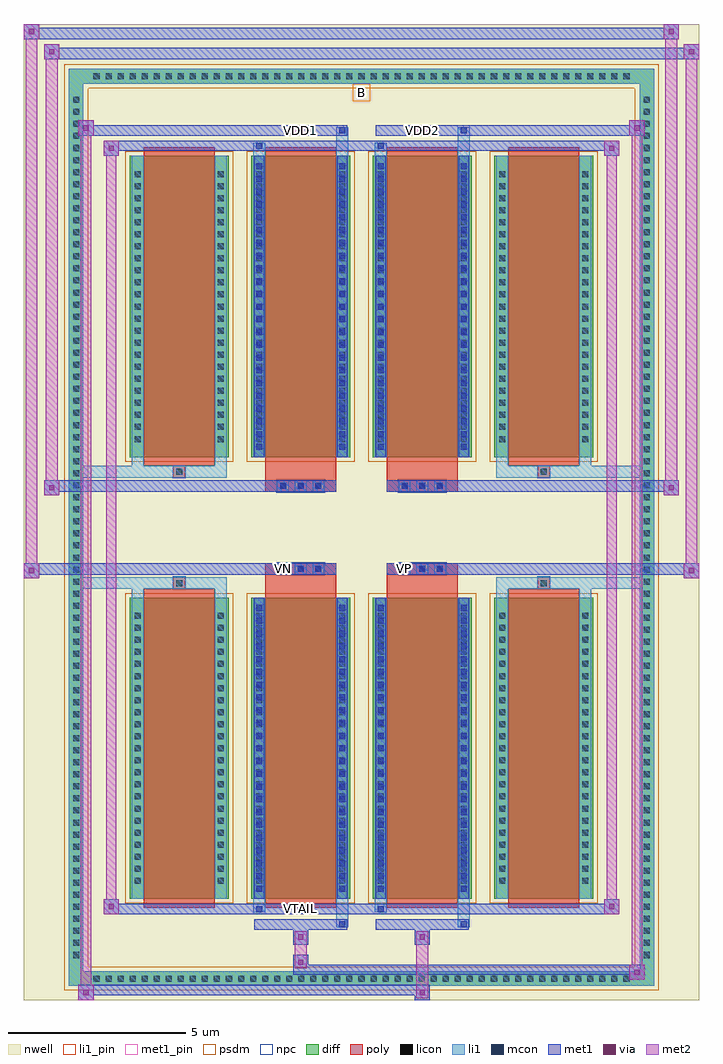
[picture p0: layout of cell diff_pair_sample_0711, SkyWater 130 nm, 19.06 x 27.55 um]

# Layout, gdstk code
import gdstk
lib = gdstk.Library(unit=1e-6, precision=5e-09)
def R(c, l, rs):  # rectangles x0, y0, x1, y1
    for r in rs: c.add(gdstk.rectangle(r[:2], r[2:], *l))
def A(c, l, x, y, w, h, nx, ny, dx, dy):  # array of equal rectangles
    R(c, l, [(x+i*dx, y+j*dy, x+i*dx+w, y+j*dy+h) for i in range(nx) for j in range(ny)])
def P(c, l, *ps):  # polygons
    for p in ps: c.add(gdstk.Polygon(p, *l))
nwell = (64, 20)
diff = (65, 20)
poly = (66, 20)
licon = (66, 44)
li1_pin = (67, 16)
li1 = (67, 20)
mcon = (67, 44)
met1_pin = (68, 16)
met1 = (68, 20)
via = (68, 44)
met2 = (69, 20)
psdm = (94, 20)
npc = (95, 20)

diff_pair_sample_0711 = lib.new_cell('diff_pair_sample_0711')
R(diff_pair_sample_0711, nwell, [(-9.53,-13.34,9.53,14.21), (-6.85,-11.53,-0.01,-0.805), (0.01,-11.53,6.85,-0.805), (-6.85,0.805,-0.01,11.53), (0.01,0.805,6.85,11.53)])
A(diff_pair_sample_0711, diff, -7.685, -12.94, 0.41, 0.41, 45, 2, 0.34, 25.47)
A(diff_pair_sample_0711, diff, -8.26, -12.275, 0.41, 0.41, 1, 72, 0, 0.34)
A(diff_pair_sample_0711, diff, 7.85, -12.275, 0.41, 0.41, 1, 72, 0, 0.34)
A(diff_pair_sample_0711, diff, -6.54, -10.485, 2.79, 8.5, 4, 2, 3.43, 12.47)
R(diff_pair_sample_0711, diff, [(-7.685,-12.94,7.685,-12.53), (-8.26,-12.275,-7.85,12.275), (7.85,-12.275,8.26,12.275), (-7.685,12.53,7.685,12.94)])
P(diff_pair_sample_0711, diff, [(8.26,12.94),(-8.26,12.94),(-8.26,-12.53),(-7.85,-12.53),(-7.85,12.53),(7.85,12.53),(7.85,-12.53),(-7.85,-12.53),(-8.26,-12.53),(-8.26,-12.94),(8.26,-12.94)])
A(diff_pair_sample_0711, poly, -6.15, -10.735, 2.01, 9, 4, 2, 3.43, 12.47)
A(diff_pair_sample_0711, poly, -2.38, -1.335, 0.33, 0.33, 3, 2, 0.5, 2.34)
A(diff_pair_sample_0711, poly, 1.05, -1.335, 0.33, 0.33, 3, 2, 0.5, 2.34)
R(diff_pair_sample_0711, poly, [(-5.31,-1.735,-4.98,-1.405), (-5.31,-1.735,-4.98,-1.405), (-2.72,-1.735,-0.71,-1.335), (0.71,-1.735,2.72,-1.335), (4.98,-1.735,5.31,-1.405), (4.98,-1.735,5.31,-1.405), (-2.72,-1.335,-0.71,-1.005), (0.71,-1.335,2.72,-1.005), (-2.72,1.005,-0.71,1.335), (0.71,1.005,2.72,1.335), (-2.72,1.335,-0.71,1.735), (0.71,1.335,2.72,1.735), (-5.31,1.405,-4.98,1.735), (-5.31,1.405,-4.98,1.735), (4.98,1.405,5.31,1.735), (4.98,1.405,5.31,1.735)])
A(diff_pair_sample_0711, licon, -7.565, -12.82, 0.17, 0.17, 45, 2, 0.34, 25.47)
A(diff_pair_sample_0711, licon, -8.14, -12.155, 0.17, 0.17, 1, 72, 0, 0.34)
A(diff_pair_sample_0711, licon, 7.97, -12.155, 0.17, 0.17, 1, 72, 0, 0.34)
A(diff_pair_sample_0711, licon, -6.4, -10.06, 0.17, 0.17, 1, 23, 0, 0.34)
A(diff_pair_sample_0711, licon, -4.06, -10.06, 0.17, 0.17, 1, 23, 0, 0.34)
A(diff_pair_sample_0711, licon, -2.97, -10.06, 0.17, 0.17, 1, 23, 0, 0.34)
A(diff_pair_sample_0711, licon, -0.63, -10.06, 0.17, 0.17, 1, 23, 0, 0.34)
A(diff_pair_sample_0711, licon, 0.46, -10.06, 0.17, 0.17, 1, 23, 0, 0.34)
A(diff_pair_sample_0711, licon, 2.8, -10.06, 0.17, 0.17, 1, 23, 0, 0.34)
A(diff_pair_sample_0711, licon, 3.89, -10.06, 0.17, 0.17, 1, 23, 0, 0.34)
A(diff_pair_sample_0711, licon, 6.23, -10.06, 0.17, 0.17, 1, 23, 0, 0.34)
A(diff_pair_sample_0711, licon, -2.3, -1.255, 0.17, 0.17, 3, 2, 0.5, 2.34)
A(diff_pair_sample_0711, licon, 1.13, -1.255, 0.17, 0.17, 3, 2, 0.5, 2.34)
A(diff_pair_sample_0711, licon, -6.4, 2.41, 0.17, 0.17, 1, 23, 0, 0.34)
A(diff_pair_sample_0711, licon, -4.06, 2.41, 0.17, 0.17, 1, 23, 0, 0.34)
A(diff_pair_sample_0711, licon, -2.97, 2.41, 0.17, 0.17, 1, 23, 0, 0.34)
A(diff_pair_sample_0711, licon, -0.63, 2.41, 0.17, 0.17, 1, 23, 0, 0.34)
A(diff_pair_sample_0711, licon, 0.46, 2.41, 0.17, 0.17, 1, 23, 0, 0.34)
A(diff_pair_sample_0711, licon, 2.8, 2.41, 0.17, 0.17, 1, 23, 0, 0.34)
A(diff_pair_sample_0711, licon, 3.89, 2.41, 0.17, 0.17, 1, 23, 0, 0.34)
A(diff_pair_sample_0711, licon, 6.23, 2.41, 0.17, 0.17, 1, 23, 0, 0.34)
R(diff_pair_sample_0711, licon, [(-5.23,-1.655,-5.06,-1.485), (5.06,-1.655,5.23,-1.485), (-5.23,1.485,-5.06,1.655), (5.06,1.485,5.23,1.655)])
R(diff_pair_sample_0711, li1_pin, [(-0.25,12.03,0.25,12.53)])
A(diff_pair_sample_0711, li1, -7.645, -12.9, 0.33, 0.33, 45, 2, 0.34, 25.47)
A(diff_pair_sample_0711, li1, -8.22, -12.235, 0.33, 0.33, 1, 72, 0, 0.34)
A(diff_pair_sample_0711, li1, 7.89, -12.235, 0.33, 0.33, 1, 72, 0, 0.34)
A(diff_pair_sample_0711, li1, -2.97, -10.28, 0.17, 0.17, 1, 23, 0, 0.36)
A(diff_pair_sample_0711, li1, -0.63, -10.28, 0.17, 0.17, 1, 23, 0, 0.36)
A(diff_pair_sample_0711, li1, 0.46, -10.28, 0.17, 0.17, 1, 23, 0, 0.36)
A(diff_pair_sample_0711, li1, 2.8, -10.28, 0.17, 0.17, 1, 23, 0, 0.36)
A(diff_pair_sample_0711, li1, -6.48, -10.14, 0.33, 0.33, 1, 23, 0, 0.34)
A(diff_pair_sample_0711, li1, -4.14, -10.14, 0.33, 0.33, 1, 23, 0, 0.34)
A(diff_pair_sample_0711, li1, -3.05, -10.14, 0.33, 0.33, 1, 23, 0, 0.34)
A(diff_pair_sample_0711, li1, -0.71, -10.14, 0.33, 0.33, 1, 23, 0, 0.34)
A(diff_pair_sample_0711, li1, 0.38, -10.14, 0.33, 0.33, 1, 23, 0, 0.34)
A(diff_pair_sample_0711, li1, 2.72, -10.14, 0.33, 0.33, 1, 23, 0, 0.34)
A(diff_pair_sample_0711, li1, 3.81, -10.14, 0.33, 0.33, 1, 23, 0, 0.34)
A(diff_pair_sample_0711, li1, 6.15, -10.14, 0.33, 0.33, 1, 23, 0, 0.34)
A(diff_pair_sample_0711, li1, -2.38, -1.335, 0.33, 0.33, 3, 2, 0.5, 2.34)
A(diff_pair_sample_0711, li1, 1.05, -1.335, 0.33, 0.33, 3, 2, 0.5, 2.34)
A(diff_pair_sample_0711, li1, -2.97, 2.19, 0.17, 0.17, 1, 23, 0, 0.36)
A(diff_pair_sample_0711, li1, -0.63, 2.19, 0.17, 0.17, 1, 23, 0, 0.36)
A(diff_pair_sample_0711, li1, 0.46, 2.19, 0.17, 0.17, 1, 23, 0, 0.36)
A(diff_pair_sample_0711, li1, 2.8, 2.19, 0.17, 0.17, 1, 23, 0, 0.36)
A(diff_pair_sample_0711, li1, -6.48, 2.33, 0.33, 0.33, 1, 23, 0, 0.34)
A(diff_pair_sample_0711, li1, -4.14, 2.33, 0.33, 0.33, 1, 23, 0, 0.34)
A(diff_pair_sample_0711, li1, -3.05, 2.33, 0.33, 0.33, 1, 23, 0, 0.34)
A(diff_pair_sample_0711, li1, -0.71, 2.33, 0.33, 0.33, 1, 23, 0, 0.34)
A(diff_pair_sample_0711, li1, 0.38, 2.33, 0.33, 0.33, 1, 23, 0, 0.34)
A(diff_pair_sample_0711, li1, 2.72, 2.33, 0.33, 0.33, 1, 23, 0, 0.34)
A(diff_pair_sample_0711, li1, 3.81, 2.33, 0.33, 0.33, 1, 23, 0, 0.34)
A(diff_pair_sample_0711, li1, 6.15, 2.33, 0.33, 0.33, 1, 23, 0, 0.34)
R(diff_pair_sample_0711, li1, [(-8.26,-12.94,-7.85,-12.53), (-8.26,-12.94,-7.85,-12.53), (-7.85,-12.94,7.85,-12.53), (7.85,-12.94,8.26,-12.53), (7.85,-12.94,8.26,-12.53), (-8.26,-12.53,-7.85,12.53), (7.85,-12.53,8.26,12.53), (-0.71,-11.29,-0.38,-10.485), (-0.63,-11.29,-0.46,-11.12), (2.72,-11.29,3.05,-10.485), (2.8,-11.29,2.97,-11.12), (-3.05,-10.86,-2.72,-10.485), (-2.97,-10.86,-2.8,-10.69), (0.38,-10.86,0.71,-10.485), (0.46,-10.86,0.63,-10.69), (-6.48,-10.485,-6.15,-1.985), (-4.14,-10.485,-3.81,-1.985), (-3.05,-10.485,-2.72,-1.985), (-0.71,-10.485,-0.38,-1.985), (0.38,-10.485,0.71,-1.985), (2.72,-10.485,3.05,-1.985), (3.81,-10.485,4.14,-1.985), (6.15,-10.485,6.48,-1.985), (-2.97,-10.28,-2.8,-2.19), (-0.63,-10.28,-0.46,-2.19), (0.46,-10.28,0.63,-2.19), (2.8,-10.28,2.97,-2.19), (-6.48,-1.985,-6.15,-1.405), (-4.14,-1.985,-3.81,-1.405), (3.81,-1.985,4.14,-1.405), (6.15,-1.985,6.48,-1.405), (-8.26,-1.735,-5.31,-1.405), (-6.48,-1.735,-5.31,-1.405), (-5.31,-1.735,-4.98,-1.405), (-4.98,-1.735,-3.81,-1.405), (3.81,-1.735,4.98,-1.405), (4.98,-1.735,5.31,-1.405), (4.98,-1.735,8.26,-1.405), (5.31,-1.735,6.48,-1.405), (-8.26,1.405,-5.31,1.735), (-6.48,1.405,-5.31,1.735), (-6.48,1.405,-6.15,1.985), (-5.31,1.405,-4.98,1.735), (-4.98,1.405,-3.81,1.735), (-4.14,1.405,-3.81,1.985), (3.81,1.405,4.98,1.735), (3.81,1.405,4.14,1.985), (4.98,1.405,5.31,1.735), (4.98,1.405,8.26,1.735), (5.31,1.405,6.48,1.735), (6.15,1.405,6.48,1.985), (-6.48,1.985,-6.15,10.485), (-4.14,1.985,-3.81,10.485), (-3.05,1.985,-2.72,10.485), (-0.71,1.985,-0.38,10.485), (0.38,1.985,0.71,10.485), (2.72,1.985,3.05,10.485), (3.81,1.985,4.14,10.485), (6.15,1.985,6.48,10.485), (-2.97,2.19,-2.8,10.28), (-0.63,2.19,-0.46,10.28), (0.46,2.19,0.63,10.28), (2.8,2.19,2.97,10.28), (-3.05,10.485,-2.72,10.86), (-0.71,10.485,-0.38,11.29), (0.38,10.485,0.71,10.86), (2.72,10.485,3.05,11.29), (-2.97,10.69,-2.8,10.86), (0.46,10.69,0.63,10.86), (-0.63,11.12,-0.46,11.29), (2.8,11.12,2.97,11.29), (-8.26,12.53,-7.85,12.94), (-8.26,12.53,-7.85,12.94), (-7.85,12.53,7.85,12.94), (7.85,12.53,8.26,12.94), (7.85,12.53,8.26,12.94)])
A(diff_pair_sample_0711, mcon, -2.97, -10.28, 0.17, 0.17, 1, 23, 0, 0.36)
A(diff_pair_sample_0711, mcon, -0.63, -10.28, 0.17, 0.17, 1, 23, 0, 0.36)
A(diff_pair_sample_0711, mcon, 0.46, -10.28, 0.17, 0.17, 1, 23, 0, 0.36)
A(diff_pair_sample_0711, mcon, 2.8, -10.28, 0.17, 0.17, 1, 23, 0, 0.36)
A(diff_pair_sample_0711, mcon, -2.3, -1.255, 0.17, 0.17, 3, 2, 0.5, 2.34)
A(diff_pair_sample_0711, mcon, 1.13, -1.255, 0.17, 0.17, 3, 2, 0.5, 2.34)
A(diff_pair_sample_0711, mcon, -2.97, 2.19, 0.17, 0.17, 1, 23, 0, 0.36)
A(diff_pair_sample_0711, mcon, -0.63, 2.19, 0.17, 0.17, 1, 23, 0, 0.36)
A(diff_pair_sample_0711, mcon, 0.46, 2.19, 0.17, 0.17, 1, 23, 0, 0.36)
A(diff_pair_sample_0711, mcon, 2.8, 2.19, 0.17, 0.17, 1, 23, 0, 0.36)
R(diff_pair_sample_0711, mcon, [(-0.63,-11.29,-0.46,-11.12), (2.8,-11.29,2.97,-11.12), (-2.97,-10.86,-2.8,-10.69), (0.46,-10.86,0.63,-10.69), (-2.97,10.69,-2.8,10.86), (0.46,10.69,0.63,10.86), (-0.63,11.12,-0.46,11.29), (2.8,11.12,2.97,11.29)])
R(diff_pair_sample_0711, met1_pin, [(-1.85,-10.9,-1.58,-10.63), (-2.35,-1.295,-2.08,-1.025), (1.08,-1.295,1.35,-1.025), (-1.85,11.08,-1.58,11.35), (1.58,11.08,1.85,11.35)])
A(diff_pair_sample_0711, met1, -3.03, -10.34, 0.29, 0.29, 1, 23, 0, 0.36)
A(diff_pair_sample_0711, met1, -0.69, -10.34, 0.29, 0.29, 1, 23, 0, 0.36)
A(diff_pair_sample_0711, met1, 0.4, -10.34, 0.29, 0.29, 1, 23, 0, 0.36)
A(diff_pair_sample_0711, met1, 2.74, -10.34, 0.29, 0.29, 1, 23, 0, 0.36)
A(diff_pair_sample_0711, met1, -2.36, -1.315, 0.29, 0.29, 3, 2, 0.5, 2.34)
A(diff_pair_sample_0711, met1, 1.07, -1.315, 0.29, 0.29, 3, 2, 0.5, 2.34)
A(diff_pair_sample_0711, met1, -3.03, 2.13, 0.29, 0.29, 1, 23, 0, 0.36)
A(diff_pair_sample_0711, met1, -0.69, 2.13, 0.29, 0.29, 1, 23, 0, 0.36)
A(diff_pair_sample_0711, met1, 0.4, 2.13, 0.29, 0.29, 1, 23, 0, 0.36)
A(diff_pair_sample_0711, met1, 2.74, 2.13, 0.29, 0.29, 1, 23, 0, 0.36)
R(diff_pair_sample_0711, met1, [(-7.99,-13.34,-7.56,-12.91), (1.5,-13.34,1.93,-12.91), (-7.99,-13.2,1.93,-12.91), (7.56,-12.77,7.99,-12.34), (-1.93,-12.63,7.99,-12.34), (-1.93,-12.49,-1.5,-12.06), (-1.93,-11.78,-1.5,-11.35), (1.5,-11.78,1.93,-11.35), (-3.03,-11.35,-0.4,-11.06), (-0.69,-11.35,-0.4,-11.06), (0.4,-11.35,3.03,-11.06), (2.74,-11.35,3.03,-11.06), (-7.28,-10.92,-6.85,-10.49), (-7.28,-10.92,-3.03,-10.63), (-3.03,-10.92,-2.74,-10.63), (-3.03,-10.92,-0.4,-10.63), (-0.4,-10.92,0.4,-10.63), (0.4,-10.92,0.69,-10.63), (0.4,-10.92,3.03,-10.63), (3.03,-10.92,7.28,-10.63), (6.85,-10.92,7.28,-10.49), (-3.03,-10.485,-2.74,-1.985), (-0.69,-10.485,-0.4,-1.985), (0.4,-10.485,0.69,-1.985), (2.74,-10.485,3.03,-1.985), (-9.53,-1.435,-9.1,-1.005), (9.1,-1.435,9.53,-1.005), (-9.53,-1.335,-0.71,-1.005), (-2.72,-1.335,-0.71,-1.005), (0.71,-1.335,2.72,-1.005), (0.71,-1.335,9.53,-1.005), (-8.96,0.905,-8.53,1.335), (8.53,0.905,8.96,1.335), (-8.96,1.005,-2.72,1.335), (-2.72,1.005,-0.71,1.335), (0.71,1.005,2.72,1.335), (2.72,1.005,8.96,1.335), (-3.03,1.985,-2.74,10.485), (-0.69,1.985,-0.4,10.485), (0.4,1.985,0.69,10.485), (2.74,1.985,3.03,10.485), (-7.28,10.49,-6.85,10.92), (6.85,10.49,7.28,10.92), (-7.28,10.63,-3.03,10.92), (-3.03,10.63,-2.74,10.92), (-3.03,10.63,-0.4,10.92), (-0.4,10.63,0.4,10.92), (0.4,10.63,0.69,10.92), (0.4,10.63,3.03,10.92), (3.03,10.63,7.28,10.92), (-7.99,11.06,-7.56,11.49), (-7.99,11.06,-3.03,11.35), (-3.03,11.06,-0.4,11.35), (-0.69,11.06,-0.4,11.35), (0.4,11.06,3.03,11.35), (2.74,11.06,3.03,11.35), (3.03,11.06,7.99,11.35), (7.56,11.06,7.99,11.49), (-8.96,13.21,-8.53,13.64), (-8.96,13.21,-6.85,13.54), (-6.85,13.21,6.85,13.54), (6.85,13.21,9.53,13.54), (9.1,13.21,9.53,13.64), (-9.53,13.78,-9.1,14.21), (-9.53,13.78,-6.85,14.11), (-6.85,13.78,6.85,14.11), (6.85,13.78,8.96,14.11), (8.53,13.78,8.96,14.21)])
R(diff_pair_sample_0711, via, [(-7.85,-13.2,-7.7,-13.05), (1.64,-13.2,1.79,-13.05), (7.7,-12.63,7.85,-12.48), (-1.79,-12.35,-1.64,-12.2), (-1.79,-11.64,-1.64,-11.49), (1.64,-11.64,1.79,-11.49), (-7.14,-10.78,-6.99,-10.63), (6.99,-10.78,7.14,-10.63), (-9.39,-1.295,-9.24,-1.145), (9.24,-1.295,9.39,-1.145), (-8.82,1.045,-8.67,1.195), (8.67,1.045,8.82,1.195), (-7.14,10.63,-6.99,10.78), (6.99,10.63,7.14,10.78), (-7.85,11.2,-7.7,11.35), (7.7,11.2,7.85,11.35), (-8.82,13.35,-8.67,13.5), (9.24,13.35,9.39,13.5), (-9.39,13.92,-9.24,14.07), (8.67,13.92,8.82,14.07)])
R(diff_pair_sample_0711, met2, [(-7.99,-13.34,-7.56,-12.91), (-7.92,-13.34,-7.63,11.49), (-7.63,-13.34,-7.56,-12.91), (-7.94,-13.29,-7.61,-12.96), (1.55,-13.29,1.88,-12.96), (1.55,-12.96,1.88,-11.73), (7.56,-12.77,7.99,-12.34), (7.63,-12.77,7.92,11.49), (7.92,-12.77,7.99,-12.34), (7.61,-12.72,7.94,-12.39), (-1.88,-12.44,-1.55,-12.11), (-1.88,-12.11,-1.55,-11.73), (-1.88,-11.73,-1.55,-11.4), (1.55,-11.73,1.88,-11.4), (-7.28,-10.92,-6.85,-10.49), (-7.21,-10.92,-6.92,10.92), (-6.92,-10.92,-6.85,-10.49), (6.85,-10.92,7.28,-10.49), (6.92,-10.92,7.21,10.92), (7.21,-10.92,7.28,-10.49), (-7.23,-10.87,-6.9,-10.54), (6.9,-10.87,7.23,-10.54), (-9.53,-1.435,-9.1,-1.005), (-9.48,-1.435,-9.15,14.21), (-9.15,-1.435,-9.1,-1.005), (9.1,-1.435,9.53,-1.005), (9.15,-1.435,9.48,13.64), (9.48,-1.435,9.53,-1.005), (-9.48,-1.385,-9.15,-1.055), (9.15,-1.385,9.48,-1.055), (-8.96,0.905,-8.53,1.335), (-8.91,0.905,-8.58,13.64), (-8.58,0.905,-8.53,1.335), (8.53,0.905,8.96,1.335), (8.58,0.905,8.91,14.21), (8.91,0.905,8.96,1.335), (-8.91,0.955,-8.58,1.285), (8.58,0.955,8.91,1.285), (-7.28,10.49,-6.85,10.92), (-6.92,10.49,-6.85,10.92), (6.85,10.49,7.28,10.92), (7.21,10.49,7.28,10.92), (-7.23,10.54,-6.9,10.87), (6.9,10.54,7.23,10.87), (-7.99,11.06,-7.56,11.49), (-7.63,11.06,-7.56,11.49), (7.56,11.06,7.99,11.49), (7.92,11.06,7.99,11.49), (-7.94,11.11,-7.61,11.44), (7.61,11.11,7.94,11.44), (-8.96,13.21,-8.53,13.64), (-8.58,13.21,-8.53,13.64), (9.1,13.21,9.53,13.64), (9.48,13.21,9.53,13.64), (-8.91,13.26,-8.58,13.59), (9.15,13.26,9.48,13.59), (-9.53,13.78,-9.1,14.21), (-9.15,13.78,-9.1,14.21), (8.53,13.78,8.96,14.21), (8.91,13.78,8.96,14.21), (-9.48,13.83,-9.15,14.16), (8.58,13.83,8.91,14.16)])
A(diff_pair_sample_0711, psdm, -6.67, -10.615, 3.05, 8.76, 4, 2, 3.43, 12.47)
P(diff_pair_sample_0711, psdm, [(8.39,13.07),(-8.39,13.07),(-8.39,-12.4),(-7.72,-12.4),(-7.72,12.4),(7.72,12.4),(7.72,-12.4),(-7.72,-12.4),(-8.39,-12.4),(-8.39,-13.07),(8.39,-13.07)])
A(diff_pair_sample_0711, npc, -2.4, -1.355, 0.37, 0.37, 3, 2, 0.5, 2.34)
A(diff_pair_sample_0711, npc, 1.03, -1.355, 0.37, 0.37, 3, 2, 0.5, 2.34)
R(diff_pair_sample_0711, npc, [(-5.33,-1.755,-4.96,-1.385), (4.96,-1.755,5.33,-1.385), (-2.4,-1.355,-1.53,-0.985), (-2.4,-1.355,-1.53,-0.985), (-1.9,-1.355,-1.03,-0.985), (-1.9,-1.355,-1.03,-0.985), (1.03,-1.355,1.9,-0.985), (1.03,-1.355,1.9,-0.985), (1.53,-1.355,2.4,-0.985), (1.53,-1.355,2.4,-0.985), (-2.4,0.985,-1.53,1.355), (-2.4,0.985,-1.53,1.355), (-1.9,0.985,-1.03,1.355), (-1.9,0.985,-1.03,1.355), (1.03,0.985,1.9,1.355), (1.03,0.985,1.9,1.355), (1.53,0.985,2.4,1.355), (1.53,0.985,2.4,1.355), (-5.33,1.385,-4.96,1.755), (4.96,1.385,5.33,1.755)])
diff_pair_sample_0711.add(gdstk.Label('VTAIL', (-1.715,-10.765), layer=68, texttype=5))
diff_pair_sample_0711.add(gdstk.Label('VN', (-2.215,-1.16), layer=68, texttype=5))
diff_pair_sample_0711.add(gdstk.Label('VP', (1.215,-1.16), layer=68, texttype=5))
diff_pair_sample_0711.add(gdstk.Label('B', (0,12.28), layer=67, texttype=5))
diff_pair_sample_0711.add(gdstk.Label('VDD2', (1.715,11.215), layer=68, texttype=5))
diff_pair_sample_0711.add(gdstk.Label('VDD1', (-1.715,11.215), layer=68, texttype=5))

lib.write_gds('diff_pair_sample_0711.gds')
